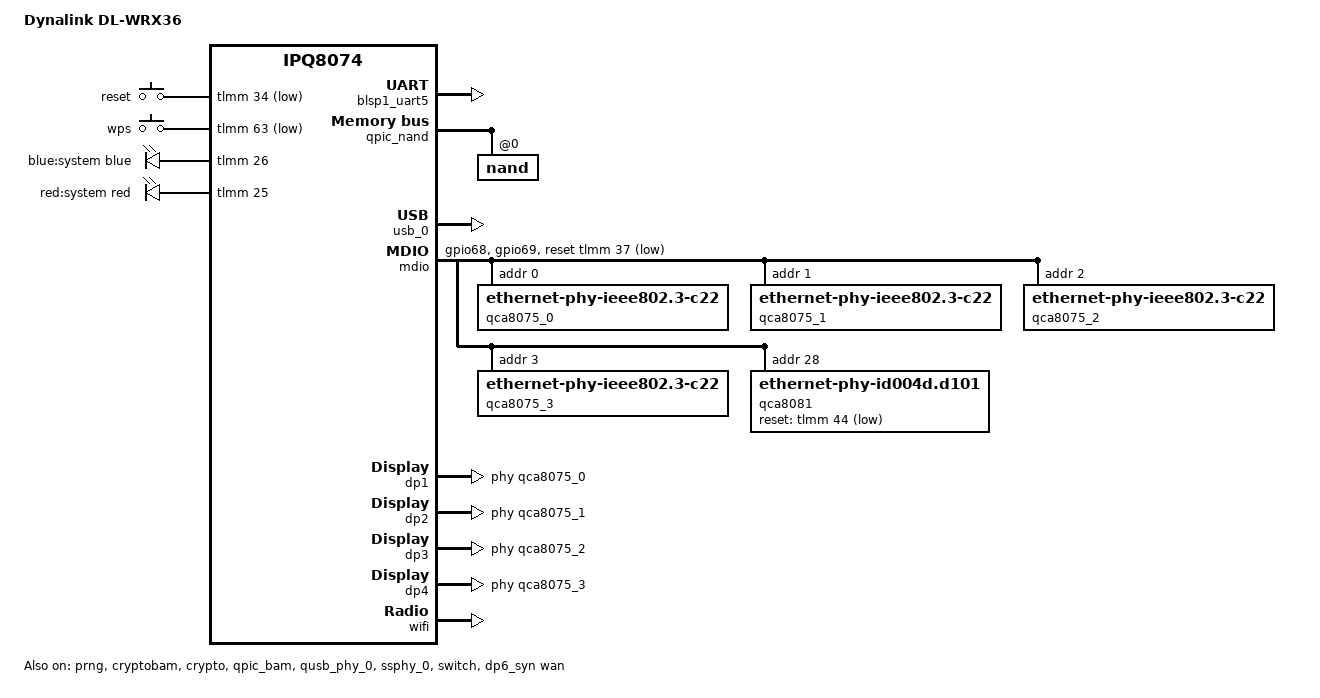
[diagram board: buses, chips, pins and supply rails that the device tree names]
// SPDX-License-Identifier: GPL-2.0-or-later OR MIT
/* Copyright (c) 2022, Robert Marko <robimarko@gmail.com> */

/dts-v1/;

#include "ipq8074.dtsi"
#include "ipq8074-hk-cpu.dtsi"
#include "ipq8074-ess.dtsi"
#include "ipq8074-nss.dtsi"
#include <dt-bindings/gpio/gpio.h>
#include <dt-bindings/input/input.h>
#include <dt-bindings/leds/common.h>

/ {
	model = "Dynalink DL-WRX36";
	compatible = "dynalink,dl-wrx36", "qcom,ipq8074";

	aliases {
		led-boot = &led_system_red;
		led-failsafe = &led_system_red;
		led-running = &led_system_blue;
		led-upgrade = &led_system_red;
		serial0 = &blsp1_uart5;
		/* Aliases as required by u-boot to patch MAC addresses */
		ethernet0 = &dp6_syn;
		ethernet1 = &dp4;
		ethernet2 = &dp3;
		ethernet3 = &dp2;
		ethernet4 = &dp1;
		label-mac-device = &dp6_syn;
	};

	chosen {
		stdout-path = "serial0:115200n8";
		bootargs-append = " root=/dev/ubiblock0_1";
	};

	keys {
		compatible = "gpio-keys";

		reset {
			label = "reset";
			gpios = <&tlmm 34 GPIO_ACTIVE_LOW>;
			linux,code = <KEY_RESTART>;
		};

		wps {
			label = "wps";
			gpios = <&tlmm 63 GPIO_ACTIVE_LOW>;
			linux,code = <KEY_WPS_BUTTON>;
		};
	};

	leds {
		compatible = "gpio-leds";

		led_system_blue: system-blue {
			label = "blue:system";
			gpios = <&tlmm 26 GPIO_ACTIVE_HIGH>;
			color = <LED_COLOR_ID_BLUE>;
		};

		led_system_red: system-red {
			label = "red:system";
			gpios = <&tlmm 25 GPIO_ACTIVE_HIGH>;
			color = <LED_COLOR_ID_RED>;
		};
	};
};

&tlmm {
	mdio_pins: mdio-pins {
		mdc {
			pins = "gpio68";
			function = "mdc";
			drive-strength = <8>;
			bias-pull-up;
		};

		mdio {
			pins = "gpio69";
			function = "mdio";
			drive-strength = <8>;
			bias-pull-up;
		};
	};
};

&blsp1_uart5 {
	status = "okay";
};

&prng {
	status = "okay";
};

&cryptobam {
	status = "okay";
};

&crypto {
	status = "okay";
};

&qpic_bam {
	status = "okay";
};

&qpic_nand {
	status = "okay";

	nand@0 {
		reg = <0>;
		nand-ecc-strength = <8>;
		nand-ecc-step-size = <512>;
		nand-bus-width = <8>;

		partitions {
			compatible = "qcom,smem-part";
		};
	};
};

&qusb_phy_0 {
	status = "okay";
};

&ssphy_0 {
	status = "okay";
};

&usb_0 {
	status = "okay";
};

&mdio {
	status = "okay";

	pinctrl-0 = <&mdio_pins>;
	pinctrl-names = "default";
	reset-gpios = <&tlmm 37 GPIO_ACTIVE_LOW>;

	qca8075_0: ethernet-phy@0 {
		compatible = "ethernet-phy-ieee802.3-c22";
		reg = <0>;
	};

	qca8075_1: ethernet-phy@1 {
		compatible = "ethernet-phy-ieee802.3-c22";
		reg = <1>;
	};

	qca8075_2: ethernet-phy@2 {
		compatible = "ethernet-phy-ieee802.3-c22";
		reg = <2>;
	};

	qca8075_3: ethernet-phy@3 {
		compatible = "ethernet-phy-ieee802.3-c22";
		reg = <3>;
	};

	qca8081: ethernet-phy@28 {
		compatible = "ethernet-phy-id004d.d101";
		reg = <28>;
		reset-gpios = <&tlmm 44 GPIO_ACTIVE_LOW>;
	};
};

&switch {
	status = "okay";

	switch_cpu_bmp = <0x1>;  /* cpu port bitmap */
	switch_lan_bmp = <0x3e>; /* lan port bitmap */
	switch_wan_bmp = <0x40>; /* wan port bitmap */
	switch_mac_mode = <0xb>; /* mac mode for uniphy instance0*/
	switch_mac_mode1 = <0xff>; /* mac mode for uniphy instance1*/
	switch_mac_mode2 = <0xc>; /* mac mode for uniphy instance2*/
	bm_tick_mode = <0>; /* bm tick mode */
	tm_tick_mode = <0>; /* tm tick mode */

	qcom,port_phyinfo {
		port@0 {
			port_id = <1>;
			phy_address = <0>;
		};
		port@1 {
			port_id = <2>;
			phy_address = <1>;
		};
		port@2 {
			port_id = <3>;
			phy_address = <2>;
		};
		port@3 {
			port_id = <4>;
			phy_address = <3>;
		};
		port@5 {
			port_id = <6>;
			phy_address = <28>;
			port_mac_sel = "QGMAC_PORT";
		};
	};
};

&edma {
	status = "okay";
};

&dp1 {
	status = "okay";
	phy-handle = <&qca8075_0>;
	label = "lan4";
};

&dp2 {
	status = "okay";
	phy-handle = <&qca8075_1>;
	label = "lan3";
};

&dp3 {
	status = "okay";
	phy-handle = <&qca8075_2>;
	label = "lan2";
};

&dp4 {
	status = "okay";
	phy-handle = <&qca8075_3>;
	label = "lan1";
};

&dp6_syn {
	status = "okay";
	phy-handle = <&qca8081>;
	label = "wan";
};

&wifi {
	status = "okay";
	qcom,ath11k-calibration-variant = "Dynalink-DL-WRX36";
};
